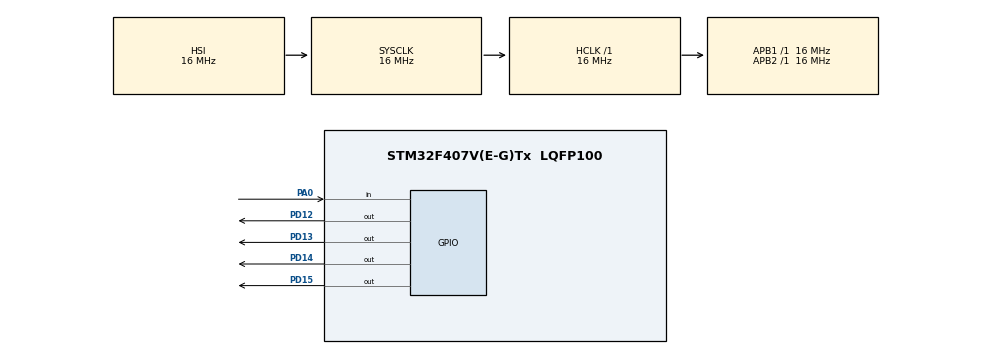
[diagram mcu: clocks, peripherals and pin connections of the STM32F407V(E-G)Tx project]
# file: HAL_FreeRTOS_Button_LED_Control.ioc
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FREERTOS.Tasks01=defaultTask,0,128,StartDefaultTask,Default,NULL,Dynamic,NULL,NULL;led,0,128,ledFlashTask,Default,NULL,Dynamic,NULL,NULL;button,0,128,buttonClickTask,Default,NULL,Dynamic,NULL,NULL
Mcu.Family=STM32F4
Mcu.Name=STM32F407V(E-G)Tx
Mcu.Package=LQFP100
NVIC.PriorityGroup=NVIC_PRIORITYGROUP_4
NVIC.TIM6_DAC_IRQn=true\:15\:0\:false\:false\:true\:false\:false\:true\:true
NVIC.TimeBase=TIM6_DAC_IRQn
NVIC.TimeBaseIP=TIM6
PA0-WKUP.Signal=GPIO_Input
PD12.Signal=GPIO_Output
PD13.Signal=GPIO_Output
PD14.Signal=GPIO_Output
PD15.Signal=GPIO_Output
ProjectManager.HeapSize=0x200
ProjectManager.StackSize=0x400
ProjectManager.TargetToolchain=Makefile
RCC.AHBFreq_Value=16000000
RCC.APB1Freq_Value=16000000
RCC.APB2Freq_Value=16000000
RCC.CortexFreq_Value=16000000
RCC.HSE_VALUE=25000000
RCC.HSI_VALUE=16000000
RCC.LSE_VALUE=32768
RCC.SYSCLKFreq_VALUE=16000000
RCC.VCOOutputFreq_Value=192000000
VP_FREERTOS_VS_CMSIS_V1.Mode=CMSIS_V1
VP_SYS_VS_tim6.Mode=TIM6
board=custom

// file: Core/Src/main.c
/* USER CODE BEGIN Header */
/**
  ******************************************************************************
  * @file           : main.c
  * @brief          : Main program body
  ******************************************************************************
  * @attention
  *
  * Copyright (c) 2026 STMicroelectronics.
  * All rights reserved.
  *
  * This software is licensed under terms that can be found in the LICENSE file
  * in the root directory of this software component.
  * If no LICENSE file comes with this software, it is provided AS-IS.
  *
  ******************************************************************************
  */
/* USER CODE END Header */
#include "main.h"
#include "cmsis_os.h"

// osThreadId defaultTaskHandle;
// osThreadId ledHandle;
// osThreadId buttonHandle;

TaskHandle_t defaultTaskHandle;
TaskHandle_t ledHandle;
TaskHandle_t buttonHandle;

/* USER CODE BEGIN PV */
uint32_t buttonCount = 0;

/* USER CODE END PV */

void SystemClock_Config(void);
static void MX_GPIO_Init(void);
void StartDefaultTask(void const * argument);
void ledFlashTask(void const * argument);
void buttonClickTask(void const * argument);

int main(void)
{

  /* MCU Configuration--------------------------------------------------------*/

  /* Reset of all peripherals, Initializes the Flash interface and the Systick. */
  HAL_Init();

  /* Configure the system clock */
  SystemClock_Config();

  /* Initialize all configured peripherals */
  MX_GPIO_Init();

  /* Create the thread(s) */
  /* definition and creation of defaultTask */
  // osThreadDef(defaultTask, StartDefaultTask, osPriorityNormal, 0, 128);
  // defaultTaskHandle = osThreadCreate(osThread(defaultTask), NULL);

  // /* definition and creation of led */
  // osThreadDef(led, ledFlashTask, osPriorityNormal, 0, 128);
  // ledHandle = osThreadCreate(osThread(led), NULL);

  // /* definition and creation of button */
  // osThreadDef(button, buttonClickTask, osPriorityNormal, 0, 128);
  // buttonHandle = osThreadCreate(osThread(button), NULL);

  xTaskCreate(StartDefaultTask, "default", configMINIMAL_STACK_SIZE, 128, 0, &defaultTaskHandle);
  xTaskCreate(ledFlashTask, "led", configMINIMAL_STACK_SIZE, 128, 0, &ledHandle);
  xTaskCreate(buttonClickTask, "button", configMINIMAL_STACK_SIZE, 128, 0, &buttonHandle);

  /* Start scheduler */
  // osKernelStart();
  vTaskStartScheduler();

  /* We should never get here as control is now taken by the scheduler */

  /* Infinite loop */
  while (1)
  {

  }
}

void SystemClock_Config(void)
{
  RCC_OscInitTypeDef RCC_OscInitStruct = {0};
  RCC_ClkInitTypeDef RCC_ClkInitStruct = {0};

  /** Configure the main internal regulator output voltage
  */
  __HAL_RCC_PWR_CLK_ENABLE();
  __HAL_PWR_VOLTAGESCALING_CONFIG(PWR_REGULATOR_VOLTAGE_SCALE1);

  /** Initializes the RCC Oscillators according to the specified parameters
  * in the RCC_OscInitTypeDef structure.
  */
  RCC_OscInitStruct.OscillatorType = RCC_OSCILLATORTYPE_HSI;
  RCC_OscInitStruct.HSIState = RCC_HSI_ON;
  RCC_OscInitStruct.HSICalibrationValue = RCC_HSICALIBRATION_DEFAULT;
  RCC_OscInitStruct.PLL.PLLState = RCC_PLL_NONE;
  if (HAL_RCC_OscConfig(&RCC_OscInitStruct) != HAL_OK)
  {
    Error_Handler();
  }

  /** Initializes the CPU, AHB and APB buses clocks
  */
  RCC_ClkInitStruct.ClockType = RCC_CLOCKTYPE_HCLK|RCC_CLOCKTYPE_SYSCLK
                              |RCC_CLOCKTYPE_PCLK1|RCC_CLOCKTYPE_PCLK2;
  RCC_ClkInitStruct.SYSCLKSource = RCC_SYSCLKSOURCE_HSI;
  RCC_ClkInitStruct.AHBCLKDivider = RCC_SYSCLK_DIV1;
  RCC_ClkInitStruct.APB1CLKDivider = RCC_HCLK_DIV1;
  RCC_ClkInitStruct.APB2CLKDivider = RCC_HCLK_DIV1;

  if (HAL_RCC_ClockConfig(&RCC_ClkInitStruct, FLASH_LATENCY_0) != HAL_OK)
  {
    Error_Handler();
  }
}

static void MX_GPIO_Init(void)
{
  GPIO_InitTypeDef GPIO_InitStruct = {0};

  /* GPIO Ports Clock Enable */
  __HAL_RCC_GPIOA_CLK_ENABLE();
  __HAL_RCC_GPIOD_CLK_ENABLE();

  /*Configure GPIO pin Output Level */
  HAL_GPIO_WritePin(GPIOD, GPIO_PIN_12|GPIO_PIN_13|GPIO_PIN_14|GPIO_PIN_15, GPIO_PIN_RESET);

  /*Configure GPIO pin : PA0 */
  GPIO_InitStruct.Pin = GPIO_PIN_0;
  GPIO_InitStruct.Mode = GPIO_MODE_INPUT;
  GPIO_InitStruct.Pull = GPIO_NOPULL;
  HAL_GPIO_Init(GPIOA, &GPIO_InitStruct);

  /*Configure GPIO pins : PD12 PD13 PD14 PD15 */
  GPIO_InitStruct.Pin = GPIO_PIN_12|GPIO_PIN_13|GPIO_PIN_14|GPIO_PIN_15;
  GPIO_InitStruct.Mode = GPIO_MODE_OUTPUT_PP;
  GPIO_InitStruct.Pull = GPIO_NOPULL;
  GPIO_InitStruct.Speed = GPIO_SPEED_FREQ_LOW;
  HAL_GPIO_Init(GPIOD, &GPIO_InitStruct);

}

void StartDefaultTask(void const * argument)
{
  for(;;)
  {
    osDelay(1);
  }
}

void ledFlashTask(void const * argument)
{
  /* USER CODE BEGIN ledFlashTask */
  /* Infinite loop */
  for(;;)
  {
    if (buttonCount == 0)
    {
      HAL_GPIO_WritePin(GPIOD, GPIO_PIN_12 | GPIO_PIN_13 | GPIO_PIN_14 |GPIO_PIN_15, GPIO_PIN_SET);
    } else if (buttonCount == 1)
    {
      HAL_GPIO_TogglePin(GPIOD, GPIO_PIN_12 | GPIO_PIN_13 | GPIO_PIN_14 |GPIO_PIN_15);
      // osDelay(1000);
      vTaskDelay(1000);
    }else if (buttonCount == 2)
    {
      HAL_GPIO_TogglePin(GPIOD, GPIO_PIN_12 | GPIO_PIN_13 | GPIO_PIN_14 |GPIO_PIN_15);
      // osDelay(750);
      vTaskDelay(750);
    }else if (buttonCount == 3)
    {
      HAL_GPIO_TogglePin(GPIOD, GPIO_PIN_12 | GPIO_PIN_13 | GPIO_PIN_14 |GPIO_PIN_15);
      // osDelay(500);
      vTaskDelay(500);
    }else if (buttonCount == 4)
    {
      HAL_GPIO_TogglePin(GPIOD, GPIO_PIN_12 | GPIO_PIN_13 | GPIO_PIN_14 |GPIO_PIN_15);
      // osDelay(250);
      vTaskDelay(250);
    }
    // osDelay(1);
    vTaskDelay(1);
  }
  /* USER CODE END ledFlashTask */
}

void buttonClickTask(void const * argument)
{
  /* USER CODE BEGIN buttonClickTask */
  /* Infinite loop */
  for(;;)
  {
    if (HAL_GPIO_ReadPin(GPIOA, GPIO_PIN_0) == GPIO_PIN_RESET)
    {
      while (HAL_GPIO_ReadPin(GPIOA, GPIO_PIN_0) == GPIO_PIN_RESET);
      buttonCount++;
      if (buttonCount == 5)
      {
        buttonCount = 0;
      }
    }
    osDelay(1);
  }
  /* USER CODE END buttonClickTask */
}

void HAL_TIM_PeriodElapsedCallback(TIM_HandleTypeDef *htim)
{
  if (htim->Instance == TIM6)
  {
    HAL_IncTick();
  }
}

void Error_Handler(void)
{
  __disable_irq();
  while (1)
  {
  }
}
